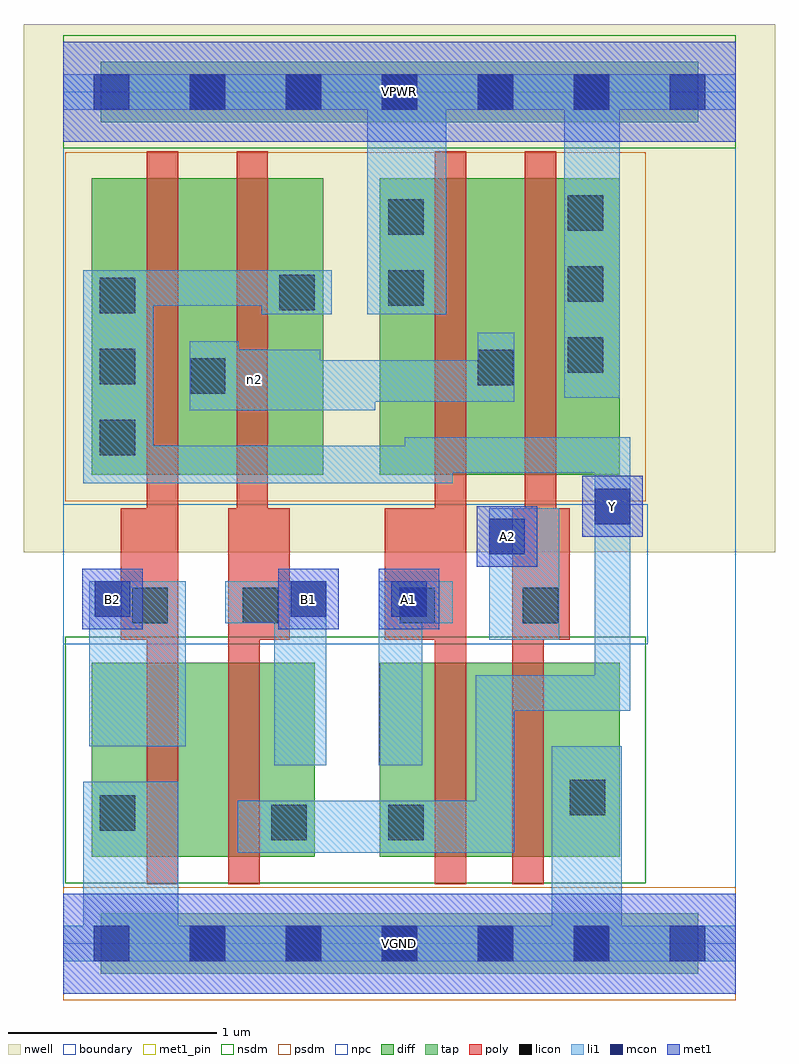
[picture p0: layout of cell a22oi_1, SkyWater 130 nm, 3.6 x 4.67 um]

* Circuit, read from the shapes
.subckt a22oi_1 A1 A2 B1 B2 VGND VPWR Y n2
XM1 n1 B2 VGND VGND sky130_fd_pr__nfet_01v8 w=0.93 l=0.15
XM2 Y B1 n1 VGND sky130_fd_pr__nfet_01v8 w=0.93 l=0.15
XM3 n3 A1 Y VGND sky130_fd_pr__nfet_01v8 w=0.93 l=0.15
XM4 VGND A2 n3 VGND sky130_fd_pr__nfet_01v8 w=0.93 l=0.15
XM5 n2 B2 Y VPWR sky130_fd_pr__pfet_01v8 w=1.42 l=0.15
XM6 Y B1 n2 VPWR sky130_fd_pr__pfet_01v8 w=1.42 l=0.15
XM7 n2 A1 VPWR VPWR sky130_fd_pr__pfet_01v8 w=1.42 l=0.15
XM8 VPWR A2 n2 VPWR sky130_fd_pr__pfet_01v8 w=1.42 l=0.15
.ends

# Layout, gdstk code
import gdstk
lib = gdstk.Library(unit=1e-6, precision=1e-09)
def R(c, l, rs):  # rectangles x0, y0, x1, y1
    for r in rs: c.add(gdstk.rectangle(r[:2], r[2:], *l))
def A(c, l, x, y, w, h, nx, ny, dx, dy):  # array of equal rectangles
    R(c, l, [(x+i*dx, y+j*dy, x+i*dx+w, y+j*dy+h) for i in range(nx) for j in range(ny)])
nwell = (64, 20)
diff = (65, 20)
tap = (65, 44)
poly = (66, 20)
licon = (66, 44)
li1 = (67, 20)
mcon = (67, 44)
met1_pin = (68, 16)
met1 = (68, 20)
nsdm = (93, 44)
psdm = (94, 20)
npc = (95, 20)
boundary = (235, 4)

a22oi_1 = lib.new_cell('a22oi_1')
R(a22oi_1, nwell, [(-0.19,1.875,3.41,4.405), (0,1.875,3.22,4.405)])
R(a22oi_1, diff, [(0.135,0.415,1.205,1.345), (1.515,0.415,2.665,1.345), (0.135,2.245,1.245,3.665), (1.515,2.245,2.665,3.665)])
R(a22oi_1, tap, [(0.18,-0.145,3.04,0.145), (0.18,3.935,3.04,4.225)])
R(a22oi_1, poly, [(0.4,0.285,0.55,3.795), (0.79,0.285,0.94,2.085), (1.78,0.285,1.93,3.795), (2.15,0.285,2.3,2.085), (0.275,1.455,0.55,2.085), (0.79,1.455,1.085,2.085), (0.83,1.455,0.98,3.795), (1.54,1.455,1.93,2.085), (2.15,1.455,2.425,2.085), (2.21,1.455,2.36,3.795)])
A(a22oi_1, licon, 0.605, -0.085, 0.17, 0.17, 5, 2, 0.46, 4.08)
A(a22oi_1, licon, 0.175, 2.34, 0.17, 0.17, 1, 3, 0, 0.34)
A(a22oi_1, licon, 2.415, 2.735, 0.17, 0.17, 1, 3, 0, 0.34)
R(a22oi_1, licon, [(0.995,0.495,1.165,0.665), (1.555,0.495,1.725,0.665), (0.175,0.54,0.345,0.71), (2.425,0.615,2.595,0.785), (0.33,1.535,0.5,1.705), (0.86,1.535,1.03,1.705), (1.61,1.535,1.78,1.705), (2.2,1.535,2.37,1.705), (0.605,2.635,0.775,2.805), (1.985,2.675,2.155,2.845), (1.035,3.035,1.205,3.205), (1.555,3.055,1.725,3.225), (1.555,3.395,1.725,3.565)])
R(a22oi_1, li1, [(0,-0.085,3.22,0.085), (0.095,-0.085,0.55,0.775), (2.34,-0.085,2.675,0.945), (0.835,0.435,2.16,0.685), (1.975,0.435,2.16,1.285), (1.01,0.855,1.26,1.735), (1.51,0.855,1.72,1.735), (0.125,0.945,0.585,1.735), (1.975,1.115,2.715,1.285), (2.545,1.115,2.715,2.425), (2.04,1.455,2.375,2.085), (0.775,1.535,1.26,1.735), (1.51,1.535,1.865,1.735), (0.095,2.205,0.43,3.225), (0.095,2.205,1.865,2.385), (1.635,2.255,2.715,2.425), (0.605,2.555,1.23,2.845), (0.605,2.555,1.495,2.795), (0.605,2.555,0.84,2.885), (0.605,2.595,2.16,2.795), (1.985,2.595,2.16,2.925), (2.4,2.615,2.665,4.165), (0.95,3.015,1.285,3.225), (1.455,3.015,1.835,4.165), (0.095,3.055,1.285,3.225), (0,3.995,3.22,4.165)])
A(a22oi_1, mcon, 0.145, -0.085, 0.17, 0.17, 7, 2, 0.46, 4.08)
R(a22oi_1, mcon, [(0.15,1.565,0.32,1.735), (1.09,1.565,1.26,1.735), (1.57,1.565,1.74,1.735), (2.04,1.865,2.21,2.035), (2.545,2.01,2.715,2.18)])
R(a22oi_1, met1_pin, [(0,-0.24,3.22,0.24), (0.09,1.505,0.38,1.795), (1.03,1.505,1.32,1.795), (1.51,1.505,1.8,1.795), (1.98,1.805,2.27,2.095), (2.485,1.95,2.775,2.24), (0,3.84,3.22,4.32)])
R(a22oi_1, met1, [(0,-0.24,3.22,0.24), (0.09,1.505,0.38,1.795), (1.03,1.505,1.32,1.795), (1.51,1.505,1.8,1.795), (1.98,1.805,2.27,2.095), (2.485,1.95,2.775,2.24), (0,3.84,3.22,4.32)])
R(a22oi_1, nsdm, [(0.01,0.29,2.79,1.47), (0,3.81,3.22,4.35)])
R(a22oi_1, psdm, [(0,-0.27,3.22,0.27), (0.01,2.12,2.79,3.79)])
R(a22oi_1, npc, [(0,1.435,2.8,2.105)])
R(a22oi_1, boundary, [(0,0,3.22,4.08)])
a22oi_1.add(gdstk.Label('n2', (0.917,2.7), layer=67, texttype=5))
a22oi_1.add(gdstk.Label('A1', (1.655,1.65), layer=68, texttype=5))
a22oi_1.add(gdstk.Label('A2', (2.125,1.95), layer=68, texttype=5))
a22oi_1.add(gdstk.Label('B1', (1.175,1.65), layer=68, texttype=5))
a22oi_1.add(gdstk.Label('B2', (0.235,1.65), layer=68, texttype=5))
a22oi_1.add(gdstk.Label('Y', (2.63,2.095), layer=68, texttype=5))
a22oi_1.add(gdstk.Label('VPWR', (1.61,4.08), layer=68, texttype=5))
a22oi_1.add(gdstk.Label('VGND', (1.61,0), layer=68, texttype=5))
a22oi_1.add(gdstk.Label('A1', (1.655,1.65), layer=68, texttype=16))
a22oi_1.add(gdstk.Label('A2', (2.125,1.95), layer=68, texttype=16))
a22oi_1.add(gdstk.Label('B1', (1.175,1.65), layer=68, texttype=16))
a22oi_1.add(gdstk.Label('B2', (0.235,1.65), layer=68, texttype=16))
a22oi_1.add(gdstk.Label('Y', (2.63,2.095), layer=68, texttype=16))
a22oi_1.add(gdstk.Label('VPWR', (1.61,4.08), layer=68, texttype=16))
a22oi_1.add(gdstk.Label('VGND', (1.61,0), layer=68, texttype=16))

lib.write_gds('a22oi_1.gds')
